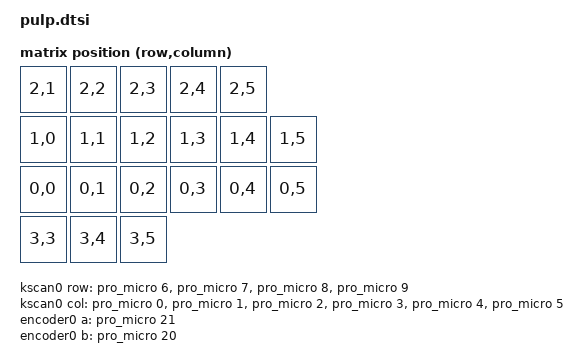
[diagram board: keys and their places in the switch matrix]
#include <dt-bindings/zmk/matrix_transform.h>
#include <zephyr/dt-bindings/i2c/i2c.h>


/ {
    kscan0: kscan {
        compatible = "zmk,kscan-gpio-matrix";

        diode-direction = "col2row";
        wakeup-source;

        col-gpios =
            <&pro_micro 0 GPIO_ACTIVE_HIGH>,
            <&pro_micro 1 GPIO_ACTIVE_HIGH>,
            <&pro_micro 2 GPIO_ACTIVE_HIGH>,
            <&pro_micro 3 GPIO_ACTIVE_HIGH>,
            <&pro_micro 4 GPIO_ACTIVE_HIGH>,
            <&pro_micro 5 GPIO_ACTIVE_HIGH>;

        row-gpios =
            <&pro_micro 6 (GPIO_ACTIVE_HIGH | GPIO_PULL_DOWN)>,
            <&pro_micro 7 (GPIO_ACTIVE_HIGH | GPIO_PULL_DOWN)>,
            <&pro_micro 8 (GPIO_ACTIVE_HIGH | GPIO_PULL_DOWN)>,
            <&pro_micro 9 (GPIO_ACTIVE_HIGH | GPIO_PULL_DOWN)>;
    };

    encoder0: encoder {
        compatible = "alps,ec11";

        a-gpios = <&pro_micro 21 (GPIO_ACTIVE_HIGH | GPIO_PULL_UP)>;
        b-gpios = <&pro_micro 20 (GPIO_ACTIVE_HIGH | GPIO_PULL_UP)>;

        steps = <20>;
        status = "okay";
    };

    sensors: sensors {
        compatible = "zmk,keymap-sensors";

        sensors = <&encoder0>;

        triggers-per-rotation = <20>;
    };

    default_transform: matrix_transform {
        compatible = "zmk,matrix-transform";

        columns = <6>;
        rows = <4>;

        map = <
            RC(2,1) RC(2,2) RC(2,3) RC(2,4) RC(2,5)

            RC(1,0) RC(1,1) RC(1,2) RC(1,3) RC(1,4) RC(1,5)

            RC(0,0) RC(0,1) RC(0,2) RC(0,3) RC(0,4) RC(0,5)

            RC(3,3) RC(3,4) RC(3,5)
        >;
    };
};

&pinctrl {
    i2c0_default: i2c0_default {
        group1 {
            psels =
                <NRF_PSEL(TWIM_SDA, 0, 9)>,
                <NRF_PSEL(TWIM_SCL, 0, 10)>;
        };
    };

    i2c0_sleep: i2c0_sleep {
        group1 {
            psels =
                <NRF_PSEL(TWIM_SDA, 0, 9)>,
                <NRF_PSEL(TWIM_SCL, 0, 10)>;
            low-power-enable;
        };
    };
};


&pro_micro_i2c {
    status = "okay";

    oled: ssd1306@3c {
        compatible = "solomon,ssd1306fb";
        reg = <0x3c>;
        width = <128>;
        height = <32>;
        segment-offset = <0>;
        page-offset = <0>;
        display-offset = <0>;
        multiplex-ratio = <31>;
        segment-remap;
        com-invdir;
        com-sequential;
        prechargep = <0x22>;
    };
};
